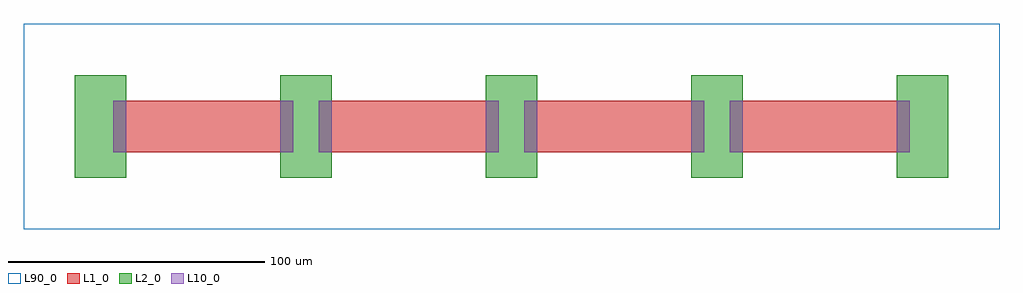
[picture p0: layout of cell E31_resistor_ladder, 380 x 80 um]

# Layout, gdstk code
import gdstk
lib = gdstk.Library(unit=1e-6, precision=1e-09)
def R(c, l, rs):  # rectangles x0, y0, x1, y1
    for r in rs: c.add(gdstk.rectangle(r[:2], r[2:], *l))
def A(c, l, x, y, w, h, nx, ny, dx, dy):  # array of equal rectangles
    R(c, l, [(x+i*dx, y+j*dy, x+i*dx+w, y+j*dy+h) for i in range(nx) for j in range(ny)])
L1_0 = (1, 0)
L2_0 = (2, 0)
L10_0 = (10, 0)
L90_0 = (90, 0)

e31_resistor_ladder = lib.new_cell('E31_resistor_ladder')
A(e31_resistor_ladder, L1_0, 15, 30, 70, 20, 4, 1, 80, 0)
A(e31_resistor_ladder, L2_0, 0, 20, 20, 40, 5, 1, 80, 0)
R(e31_resistor_ladder, L10_0, [(15,30,20,50), (80,30,85,50), (95,30,100,50), (160,30,165,50), (175,30,180,50), (240,30,245,50), (255,30,260,50), (320,30,325,50)])
R(e31_resistor_ladder, L90_0, [(-20,0,360,80)])

lib.write_gds('E31_resistor_ladder.gds')
